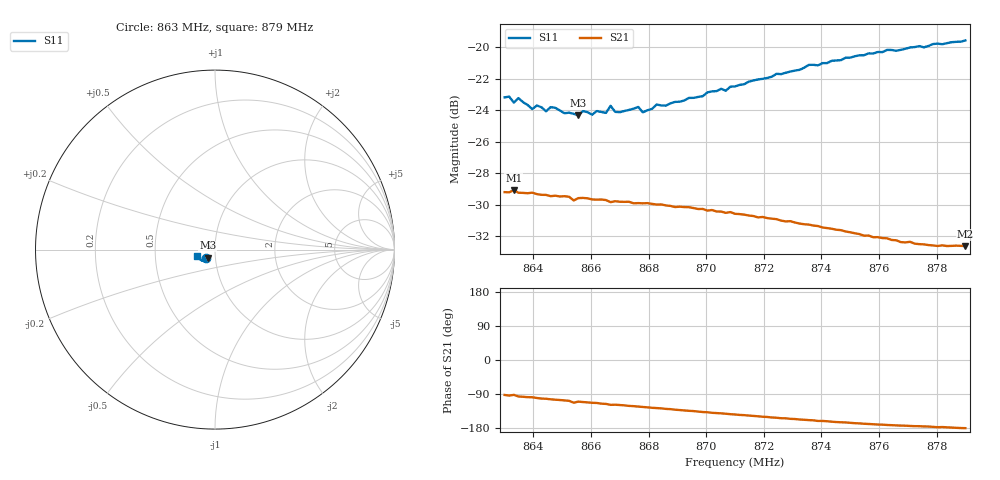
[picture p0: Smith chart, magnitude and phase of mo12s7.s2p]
# HZ S RI R 50
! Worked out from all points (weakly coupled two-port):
!   101 points, 863 MHz to 879 MHz, reference 50 ohm
!   highest |S21| = -29.06 dB at 863.32 MHz (marker M1); lowest = -32.6 dB at 879 MHz (marker M2)
!   lowest |S11| = -24.3 dB at 865.56 MHz (marker M3), VSWR 1.13, Z = 45.9 - j4.21 ohm
!   |S11| at or under -10 dB: start of sweep to end of sweep
!   S12 and S22 are empty: the file has one direction only
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8.63e8  -0.0503 -0.0478  -0.00139 -0.0347  0 0  0 0
8.6316e8  -0.0524 -0.0461  -0.00238 -0.0346  0 0  0 0
8.6332e8  -0.0461 -0.0484  -0.00124 -0.0352  0 0  0 0
8.6348e8  -0.0507 -0.0469  -0.00376 -0.0344  0 0  0 0
8.6396e8  -0.0451 -0.045  -0.00499 -0.0342  0 0  0 0
8.6412e8  -0.0473 -0.0452  -0.00606 -0.0337  0 0  0 0
8.6444e8  -0.0441 -0.0446  -0.00723 -0.0332  0 0  0 0
8.646e8  -0.0451 -0.0463  -0.00801 -0.0327  0 0  0 0
8.6556e8  -0.0402 -0.0457  -0.0113 -0.0313  0 0  0 0
8.6572e8  -0.0407 -0.0478  -0.0119 -0.0311  0 0  0 0
8.6604e8  -0.0398 -0.0464  -0.0128 -0.0303  0 0  0 0
8.662e8  -0.0402 -0.0482  -0.013 -0.0302  0 0  0 0
8.6652e8  -0.0385 -0.0485  -0.0143 -0.0295  0 0  0 0
8.6668e8  -0.0415 -0.0504  -0.0153 -0.0284  0 0  0 0
8.6684e8  -0.0383 -0.0493  -0.0153 -0.0287  0 0  0 0
8.6764e8  -0.039 -0.0516  -0.0174 -0.0269  0 0  0 0
8.678e8  -0.0368 -0.0502  -0.0179 -0.0265  0 0  0 0
8.6844e8  -0.0376 -0.0536  -0.0194 -0.0251  0 0  0 0
8.71e8  -0.0443 -0.0608  -0.0239 -0.0175  0 0  0 0
8.7372e8  -0.0596 -0.0648  -0.0254 -0.00967  0 0  0 0
8.7644e8  -0.0809 -0.0556  -0.0242 -0.00341  0 0  0 0
8.79e8  -0.098 -0.0382  -0.0234 -6e-05  0 0  0 0
